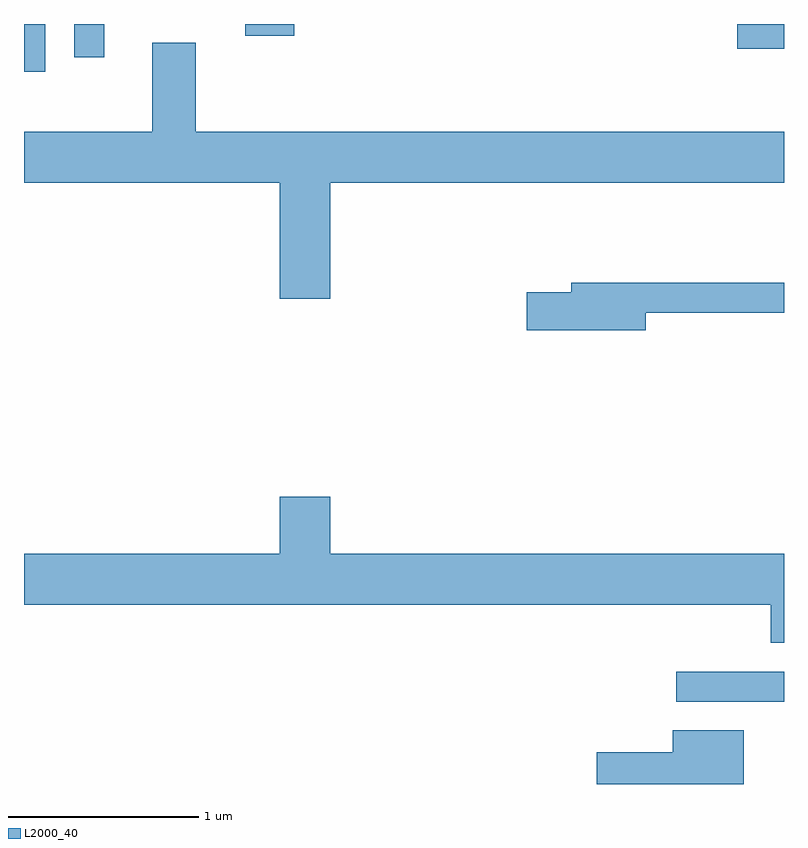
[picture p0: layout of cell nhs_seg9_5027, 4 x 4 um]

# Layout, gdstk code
import gdstk
lib = gdstk.Library(unit=1e-6, precision=1e-09)
def R(c, l, rs):  # rectangles x0, y0, x1, y1
    for r in rs: c.add(gdstk.rectangle(r[:2], r[2:], *l))
def P(c, l, *ps):  # polygons
    for p in ps: c.add(gdstk.Polygon(p, *l))
L2000_40 = (2000, 40)

nhs_seg9_5027 = lib.new_cell('nhs_seg9_5027')
R(nhs_seg9_5027, L2000_40, [(337.043,1986.866,337.611,1987.024), (333.611,1990.181,333.724,1990.432), (333.876,1990.258,334.034,1990.432), (337.366,1990.301,337.611,1990.432), (334.776,1990.371,335.034,1990.432)])
P(nhs_seg9_5027, L2000_40, [(335.224,1989.596),(337.611,1989.596),(337.611,1989.864),(334.514,1989.864),(334.514,1990.334),(334.286,1990.334),(334.286,1989.864),(333.611,1989.864),(333.611,1989.596),(334.956,1989.596),(334.956,1988.986),(335.224,1988.986)],
  [(336.884,1988.911),(337.611,1988.911),(337.611,1989.069),(336.491,1989.069),(336.491,1989.019),(336.256,1989.019),(336.256,1988.821),(336.884,1988.821)],
  [(337.611,1987.644),(335.224,1987.644),(335.224,1987.944),(334.956,1987.944),(334.956,1987.644),(333.611,1987.644),(333.611,1987.376),(337.541,1987.376),(337.541,1987.176),(337.611,1987.176)],
  [(337.399,1986.714),(337.026,1986.714),(337.026,1986.599),(336.626,1986.599),(336.626,1986.432),(337.399,1986.432)])

lib.write_gds('nhs_seg9_5027.gds')
